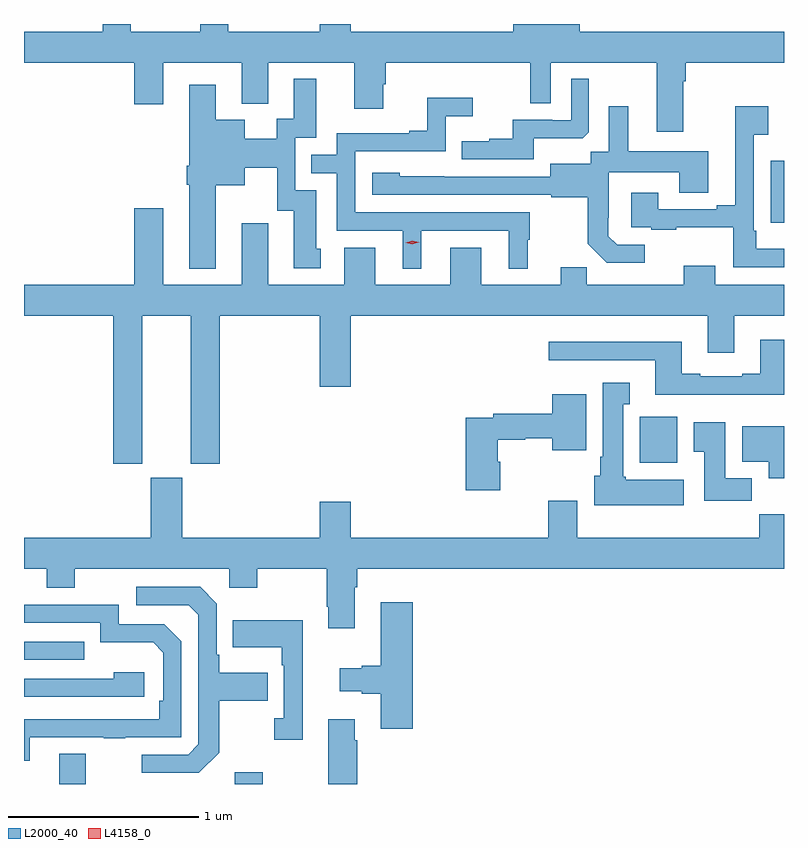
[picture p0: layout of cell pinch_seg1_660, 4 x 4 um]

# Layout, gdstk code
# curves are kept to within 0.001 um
import gdstk
lib = gdstk.Library(unit=1e-6, precision=1e-09)
def R(c, l, rs):  # rectangles x0, y0, x1, y1
    for r in rs: c.add(gdstk.rectangle(r[:2], r[2:], *l))
def P(c, l, *ps):  # polygons
    for p in ps: c.add(gdstk.Polygon(p, *l))
L2000_40 = (2000, 40)
L4158_0 = (4158, 0)

pinch_seg1_660 = lib.new_cell('pinch_seg1_660')
R(pinch_seg1_660, L2000_40, [(822.977,578.572,823.117,578.731), (823.901,578.572,824.049,578.635), (822.792,579.225,823.109,579.321), (826.034,580.262,826.231,580.504), (826.722,581.525,826.792,581.851)])
P(pinch_seg1_660, L2000_40, [(823.867,582.572),(823.72,582.572),(823.72,582.532),(823.353,582.532),(823.353,582.572),(823.206,582.572),(823.206,582.532),(822.792,582.532),(822.792,582.368),(823.373,582.368),(823.373,582.15),(823.525,582.15),(823.525,582.368),(823.937,582.368),(823.937,582.152),(824.077,582.152),(824.077,582.368),(824.531,582.368),(824.531,582.126),(824.683,582.126),(824.683,582.255),(824.696,582.255),(824.696,582.368),(825.456,582.368),(825.456,582.154),(825.564,582.154),(825.564,582.368),(826.121,582.368),(826.121,582.006),(826.261,582.006),(826.261,582.272),(826.274,582.272),(826.274,582.368),(826.792,582.368),(826.792,582.532),(825.718,582.532),(825.718,582.572),(825.368,582.572),(825.368,582.532),(824.512,582.532),(824.512,582.572),(824.348,582.572),(824.348,582.532),(823.867,582.532)],
  [(823.801,581.723),(823.954,581.723),(823.954,581.816),(824.124,581.816),(824.124,581.589),(824.213,581.589),(824.213,581.286),(824.353,581.286),(824.353,581.388),(824.329,581.388),(824.329,581.697),(824.22,581.697),(824.22,581.973),(824.329,581.973),(824.329,582.283),(824.213,582.283),(824.213,582.074),(824.123,582.074),(824.123,581.968),(823.954,581.968),(823.954,582.067),(823.801,582.067),(823.801,582.253),(823.661,582.253),(823.661,581.827),(823.649,581.827),(823.649,581.727),(823.661,581.727),(823.661,581.285),(823.801,581.285)],
  [(825.475,581.972),(825.733,581.972),(825.765,582.003),(825.765,582.283),(825.672,582.283),(825.672,582.066),(825.572,582.066),(825.572,582.069),(825.365,582.069),(825.365,581.968),(825.241,581.968),(825.241,581.956),(825.097,581.956),(825.097,581.859),(825.475,581.859)],
  [(824.884,581.484),(825.344,581.484),(825.344,581.285),(825.442,581.285),(825.442,581.436),(825.454,581.436),(825.454,581.58),(824.535,581.58),(824.535,581.901),(825.012,581.901),(825.012,582.086),(825.154,582.086),(825.154,582.185),(824.914,582.185),(824.914,582.01),(824.819,582.01),(824.819,581.997),(824.439,581.997),(824.439,581.883),(824.305,581.883),(824.305,581.787),(824.439,581.787),(824.439,581.484),(824.786,581.484),(824.786,581.285),(824.884,581.285)],
  [(826.06,581.409),(825.915,581.409),(825.868,581.456),(825.868,581.551),(825.87,581.551),(825.87,581.792),(826.241,581.792),(826.241,581.683),(826.393,581.683),(826.393,581.902),(825.973,581.902),(825.973,582.139),(825.869,582.139),(825.869,581.9),(825.774,581.9),(825.774,581.836),(825.563,581.836),(825.563,581.769),(824.769,581.77),(824.769,581.788),(824.625,581.788),(824.625,581.673),(825.567,581.673),(825.567,581.661),(825.759,581.661),(825.759,581.415),(825.859,581.315),(826.06,581.315)],
  [(826.792,581.389),(826.645,581.389),(826.645,581.485),(826.632,581.485),(826.632,581.99),(826.708,581.99),(826.708,582.139),(826.535,582.139),(826.535,581.617),(826.439,581.617),(826.439,581.598),(826.129,581.598),(826.129,581.683),(825.989,581.683),(825.989,581.502),(826.093,581.502),(826.093,581.49),(826.225,581.49),(826.225,581.501),(826.524,581.501),(826.524,581.292),(826.792,581.292)],
  [(823.414,581.036),(823.67,581.036),(823.67,580.257),(823.823,580.257),(823.823,581.036),(824.348,581.036),(824.348,580.662),(824.512,580.662),(824.512,581.036),(826.391,581.036),(826.391,580.842),(826.531,580.842),(826.531,581.036),(826.792,581.036),(826.792,581.2),(826.429,581.2),(826.429,581.299),(826.265,581.299),(826.265,581.2),(825.755,581.2),(825.755,581.291),(825.617,581.291),(825.617,581.2),(825.199,581.2),(825.199,581.395),(825.035,581.395),(825.035,581.2),(824.641,581.2),(824.641,581.395),(824.477,581.395),(824.477,581.2),(824.077,581.2),(824.077,581.524),(823.937,581.524),(823.937,581.2),(823.525,581.2),(823.525,581.602),(823.373,581.602),(823.373,581.2),(822.792,581.2),(822.792,581.036),(823.262,581.036),(823.262,580.257),(823.414,580.257)],
  [(826.792,580.909),(826.667,580.909),(826.667,580.732),(826.571,580.732),(826.571,580.719),(826.351,580.719),(826.351,580.732),(826.255,580.732),(826.255,580.9),(825.555,580.9),(825.555,580.803),(826.115,580.803),(826.115,580.622),(826.792,580.622)],
  [(826.264,580.174),(825.96,580.174),(825.96,580.188),(825.946,580.188),(825.946,580.571),(825.979,580.571),(825.979,580.684),(825.839,580.684),(825.839,580.294),(825.824,580.294),(825.824,580.194),(825.794,580.194),(825.794,580.04),(826.264,580.04)],
  [(825.299,580.269),(825.286,580.269),(825.286,580.384),(825.429,580.384),(825.429,580.392),(825.572,580.392),(825.572,580.328),(825.751,580.328),(825.751,580.624),(825.572,580.624),(825.572,580.52),(825.262,580.52),(825.262,580.5),(825.116,580.5),(825.116,580.119),(825.299,580.119)],
  [(826.622,580.18),(826.483,580.18),(826.483,580.477),(826.316,580.477),(826.316,580.321),(826.373,580.321),(826.373,580.062),(826.622,580.062)],
  [(826.792,580.456),(826.571,580.456),(826.571,580.268),(826.712,580.268),(826.712,580.181),(826.792,580.181)],
  [(824.533,579.608),(824.546,579.608),(824.546,579.704),(826.792,579.704),(826.792,579.992),(826.663,579.992),(826.663,579.868),(825.703,579.868),(825.703,580.063),(825.551,580.063),(825.551,579.868),(824.512,579.868),(824.512,580.057),(824.348,580.057),(824.348,579.868),(823.624,579.868),(823.624,580.185),(823.46,580.185),(823.46,579.868),(822.792,579.868),(822.792,579.704),(822.911,579.704),(822.911,579.605),(823.059,579.605),(823.059,579.704),(823.872,579.704),(823.872,579.605),(824.019,579.605),(824.019,579.704),(824.386,579.704),(824.386,579.505),(824.393,579.505),(824.393,579.393),(824.533,579.393)],
  [(823.819,578.737),(823.819,579.01),(824.075,579.01),(824.075,579.157),(823.819,579.157),(823.819,579.253),(823.806,579.253),(823.806,579.522),(823.719,579.609),(823.383,579.609),(823.383,579.513),(823.659,579.513),(823.71,579.462),(823.71,578.781),(823.656,578.727),(823.413,578.727),(823.413,578.631),(823.713,578.631)],
  [(824.837,579.529),(824.669,579.529),(824.669,579.194),(824.57,579.194),(824.57,579.181),(824.454,579.181),(824.454,579.059),(824.57,579.059),(824.57,579.047),(824.669,579.047),(824.669,578.862),(824.837,578.862)],
  [(822.823,578.817),(823.213,578.817),(823.213,578.812),(823.325,578.812),(823.325,578.817),(823.62,578.817),(823.62,579.324),(823.53,579.414),(823.29,579.414),(823.29,579.516),(822.792,579.516),(822.792,579.42),(823.194,579.42),(823.194,579.317),(823.471,579.317),(823.524,579.264),(823.524,579.01),(823.504,579.01),(823.504,578.913),(822.792,578.912),(822.792,578.694),(822.823,578.694)],
  [(824.258,579.433),(823.891,579.433),(823.891,579.293),(824.148,579.293),(824.148,579.197),(824.16,579.197),(824.16,578.918),(824.109,578.918),(824.109,578.805),(824.258,578.805)],
  [(823.426,579.16),(823.265,579.16),(823.265,579.126),(822.792,579.126),(822.792,579.03),(823.426,579.03)],
  [(824.546,578.801),(824.533,578.801),(824.533,578.914),(824.393,578.914),(824.393,578.572),(824.546,578.572)])
P(pinch_seg1_660, L4158_0, [(824.835,581.412),(824.8,581.42),(824.799,581.421),(824.8,581.421),(824.835,581.432),(824.87,581.423),(824.871,581.423),(824.87,581.423)])

lib.write_gds('pinch_seg1_660.gds')
